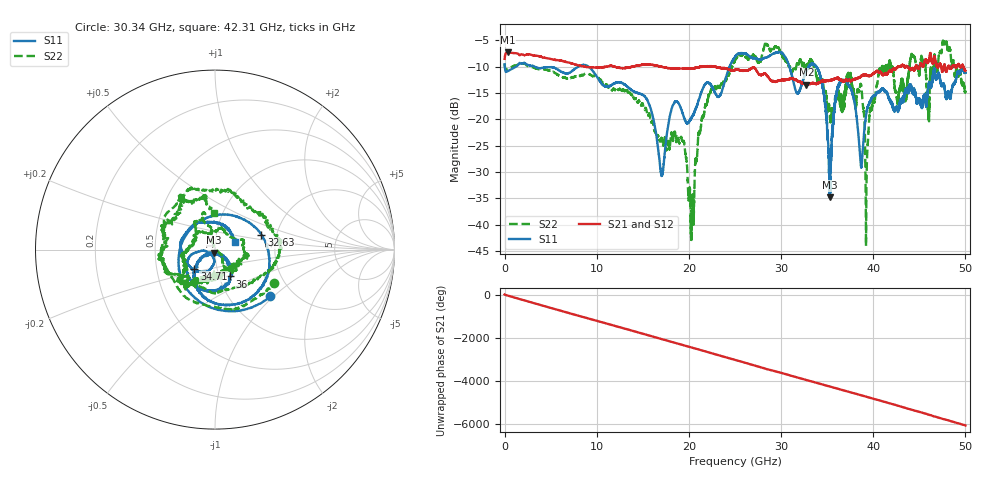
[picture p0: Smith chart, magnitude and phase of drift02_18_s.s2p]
!Created with skrf (http://scikit-rf.org).
# Hz S RI R 50.0
!freq ReS11 ImS11 ReS21 ImS21 ReS12 ImS12 ReS22 ImS22
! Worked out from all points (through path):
!   10001 points, 300 kHz to 50 GHz, reference 50 ohm
!   highest |S21| = -7.31 dB at 325.3 MHz (marker M1); lowest = -13.4 dB at 32.74 GHz (marker M2)
!   group delay of S21, straight-line fit = 335 ps
!   lowest |S11| = -34.8 dB at 35.26 GHz (marker M3), VSWR 1.04, Z = 49.2 - j1.61 ohm
!   |S11| at or under -10 dB: 3.242 GHz to 8.007 GHz (4.765 GHz wide, 84.7 % of centre); 9.103 GHz to 24.42 GHz (15.31 GHz wide, 91.4 % of centre); 33.83 GHz to end of sweep (the widest 3 of 9)
!   |S22| runs from -44.1 to -5.0 dB; largest |S21 - S12| = 0.013
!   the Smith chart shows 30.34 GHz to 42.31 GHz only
!   S11 on the Smith chart (normalised r, x): 30.34 GHz: 1.53, -0.95; 32.63 GHz: 1.66, +0.30; 34.71 GHz: 0.78, -0.17; 36 GHz: 1.13, -0.35; 42.31 GHz: 1.25, +0.11
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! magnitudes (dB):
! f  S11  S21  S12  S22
! 300 kHz  -9.6  -8.5  -8.5  -9.5
! 325.3 MHz  -10.9  -7.3  -7.3  -10.6
! 8.335 GHz  -9.7  -9.9  -9.9  -11.6
! 16.67 GHz  -25.7  -9.9  -9.9  -23.2
! 19.32 GHz  -18.8  -10.4  -10.3  -24.4
! 20.34 GHz  -19.5  -10.4  -10.4  -36.7
! 21.93 GHz  -13.1  -10.0  -10.0  -17.1
! 25 GHz  -8.2  -10.6  -10.7  -9.0
! 30.34 GHz  -7.9  -12.5  -12.6  -8.4
! 32.63 GHz  -11.4  -13.2  -13.4  -10.2
! 32.74 GHz  -10.9  -13.4  -13.5  -9.9
! 33.34 GHz  -9.6  -13.2  -13.2  -9.0
! 34.71 GHz  -16.1  -12.7  -12.7  -14.9
! 35.26 GHz  -34.8  -12.6  -12.6  -18.2
! 36 GHz  -15.3  -12.2  -12.3  -15.9
! 38.57 GHz  -26.7  -12.0  -12.0  -13.8
! 39.3 GHz  -18.4  -11.6  -11.7  -28.8
! 41.67 GHz  -15.9  -11.0  -11.1  -9.3
! 42.31 GHz  -18.3  -10.5  -10.4  -13.7
! 45.96 GHz  -13.8  -9.1  -9.1  -18.1
! 47.76 GHz  -14.2  -9.7  -9.7  -5.2
! 50 GHz  -11.2  -10.8  -10.8  -14.7
